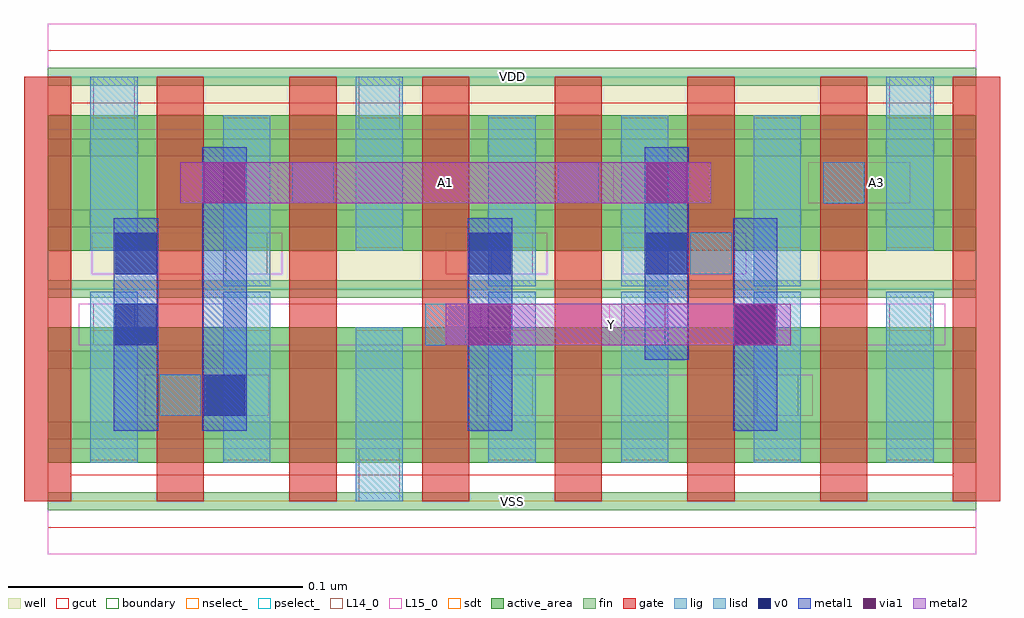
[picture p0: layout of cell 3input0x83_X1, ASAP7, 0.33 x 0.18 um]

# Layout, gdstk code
import gdstk
lib = gdstk.Library(unit=1e-6, precision=2.5e-10)
def R(c, l, rs):  # rectangles x0, y0, x1, y1
    for r in rs: c.add(gdstk.rectangle(r[:2], r[2:], *l))
def A(c, l, x, y, w, h, nx, ny, dx, dy):  # array of equal rectangles
    R(c, l, [(x+i*dx, y+j*dy, x+i*dx+w, y+j*dy+h) for i in range(nx) for j in range(ny)])
def P(c, l, *ps):  # polygons
    for p in ps: c.add(gdstk.Polygon(p, *l))
well = (1, 0)
fin = (2, 0)
gate = (7, 0)
gcut = (10, 0)
active_area = (11, 0)
nselect_ = (12, 0)
pselect_ = (13, 0)
L14_0 = (14, 0)
L15_0 = (15, 0)
lig = (16, 0)
lisd = (17, 0)
v0 = (18, 0)
metal1 = (19, 0)
metal2 = (20, 0)
via1 = (21, 0)
sdt = (88, 0)
boundary = (100, 0)

c_3input0x83_x1 = lib.new_cell('3input0x83_X1')
R(c_3input0x83_x1, well, [(0,0.072,0.315,0.144)])
A(c_3input0x83_x1, fin, 0, -0.003, 0.315, 0.006, 1, 7, 0, 0.024)
A(c_3input0x83_x1, gate, -0.008, 0, 0.016, 0.144, 8, 1, 0.045, 0)
P(c_3input0x83_x1, gcut, [(0,-0.009),(0,0),(-0.008,0),(-0.008,0.135),(0.008,0.135),(0.008,0.009),(0.307,0.009),(0.307,0.135),(-0.008,0.135),(-0.008,0.144),(0,0.144),(0,0.153),(0.315,0.153),(0.315,0.144),(0.323,0.144),(0.323,0),(0.315,0),(0.315,-0.009)])
R(c_3input0x83_x1, active_area, [(0,0.013,0.315,0.059), (0,0.085,0.315,0.131)])
R(c_3input0x83_x1, nselect_, [(0,0,0.315,0.072)])
R(c_3input0x83_x1, pselect_, [(0,0.072,0.315,0.144)])
A(c_3input0x83_x1, L14_0, 0.083, 0.101, 0.014, 0.014, 3, 1, 0.09, 0)
R(c_3input0x83_x1, L14_0, [(0.1055,0,0.1195,0.018), (0.038,0.029,0.052,0.043), (0.1505,0.029,0.1645,0.043), (0.2405,0.029,0.2545,0.043), (0.0155,0.053,0.0295,0.067), (0.128,0.053,0.142,0.067), (0.1955,0.053,0.2095,0.067), (0.2855,0.053,0.2995,0.067), (0.0605,0.077,0.0745,0.091), (0.1505,0.077,0.1645,0.091), (0.218,0.077,0.232,0.091), (0.0155,0.126,0.0295,0.144), (0.1055,0.126,0.1195,0.144), (0.2855,0.126,0.2995,0.144)])
R(c_3input0x83_x1, L15_0, [(0,-0.018,0.315,0.018), (0.033,0.029,0.075,0.043), (0.1455,0.029,0.2595,0.043), (0.0105,0.053,0.147,0.067), (0.1905,0.053,0.3045,0.067), (0.015,0.077,0.0795,0.091), (0.135,0.077,0.1695,0.091), (0.195,0.077,0.237,0.091), (0.078,0.101,0.192,0.115), (0.258,0.101,0.2925,0.115), (0,0.126,0.315,0.162)])
A(c_3input0x83_x1, lig, 0.083, 0.101, 0.014, 0.014, 3, 1, 0.09, 0)
R(c_3input0x83_x1, lig, [(0.038,0.029,0.052,0.043), (0.128,0.053,0.142,0.067), (0.218,0.077,0.232,0.091)])
A(c_3input0x83_x1, lisd, 0.1495, 0.013, 0.016, 0.058, 4, 1, 0.045, 0)
A(c_3input0x83_x1, lisd, 0.1495, 0.073, 0.016, 0.058, 3, 1, 0.045, 0)
R(c_3input0x83_x1, lisd, [(0.1045,0,0.1205,0.059), (0.0145,0.013,0.0305,0.071), (0.0595,0.013,0.0755,0.071), (0.0595,0.073,0.0755,0.131), (0.0145,0.085,0.0305,0.144), (0.1045,0.085,0.1205,0.144), (0.2845,0.085,0.3005,0.144)])
R(c_3input0x83_x1, v0, [(0.053,0.029,0.067,0.043), (0.023,0.053,0.037,0.067), (0.233,0.053,0.247,0.067), (0.023,0.077,0.037,0.091), (0.143,0.077,0.157,0.091), (0.203,0.077,0.217,0.091)])
R(c_3input0x83_x1, metal1, [(0.0225,0.024,0.0375,0.096), (0.0525,0.024,0.0675,0.12), (0.1425,0.024,0.1575,0.096), (0.2325,0.024,0.2475,0.096), (0.2025,0.048,0.2175,0.12)])
R(c_3input0x83_x1, metal2, [(0.135,0.053,0.252,0.067), (0.045,0.101,0.225,0.115)])
R(c_3input0x83_x1, via1, [(0.143,0.053,0.157,0.067), (0.233,0.053,0.247,0.067), (0.053,0.101,0.067,0.115), (0.203,0.101,0.217,0.115)])
A(c_3input0x83_x1, sdt, 0.0145, 0.014, 0.016, 0.044, 7, 2, 0.045, 0.072)
R(c_3input0x83_x1, boundary, [(0,0,0.315,0.144)])
c_3input0x83_x1.add(gdstk.Label('A1', (0.135,0.108), layer=15, texttype=251))
c_3input0x83_x1.add(gdstk.Label('VSS', (0.1575,0), layer=15, texttype=251))
c_3input0x83_x1.add(gdstk.Label('VDD', (0.1575,0.144), layer=15, texttype=251))
c_3input0x83_x1.add(gdstk.Label('A3', (0.2812,0.108), layer=15, texttype=251))
c_3input0x83_x1.add(gdstk.Label('VSS', (0.1575,0), layer=15, texttype=251))
c_3input0x83_x1.add(gdstk.Label('VDD', (0.1575,0.144), layer=15, texttype=251))
c_3input0x83_x1.add(gdstk.Label('VSS', (0.1575,0), layer=15, texttype=251))
c_3input0x83_x1.add(gdstk.Label('VDD', (0.1575,0.144), layer=15, texttype=251))
c_3input0x83_x1.add(gdstk.Label('VSS', (0.1575,0), layer=15, texttype=251))
c_3input0x83_x1.add(gdstk.Label('VDD', (0.1575,0.144), layer=15, texttype=251))
c_3input0x83_x1.add(gdstk.Label('VSS', (0.1575,0), layer=3, texttype=251))
c_3input0x83_x1.add(gdstk.Label('VSS', (0.1575,0), layer=3, texttype=251))
c_3input0x83_x1.add(gdstk.Label('VSS', (0.1575,0), layer=3, texttype=251))
c_3input0x83_x1.add(gdstk.Label('VSS', (0.1575,0), layer=3, texttype=251))
c_3input0x83_x1.add(gdstk.Label('VDD', (0.1575,0.144), layer=1, texttype=251))
c_3input0x83_x1.add(gdstk.Label('VDD', (0.1575,0.144), layer=1, texttype=251))
c_3input0x83_x1.add(gdstk.Label('VDD', (0.1575,0.144), layer=1, texttype=251))
c_3input0x83_x1.add(gdstk.Label('VDD', (0.1575,0.144), layer=1, texttype=251))
c_3input0x83_x1.add(gdstk.Label('A2', (0.135,0.108), layer=20, texttype=251))
c_3input0x83_x1.add(gdstk.Label('Y', (0.1913,0.06), layer=20, texttype=251))

lib.write_gds('3input0x83_X1.gds')
